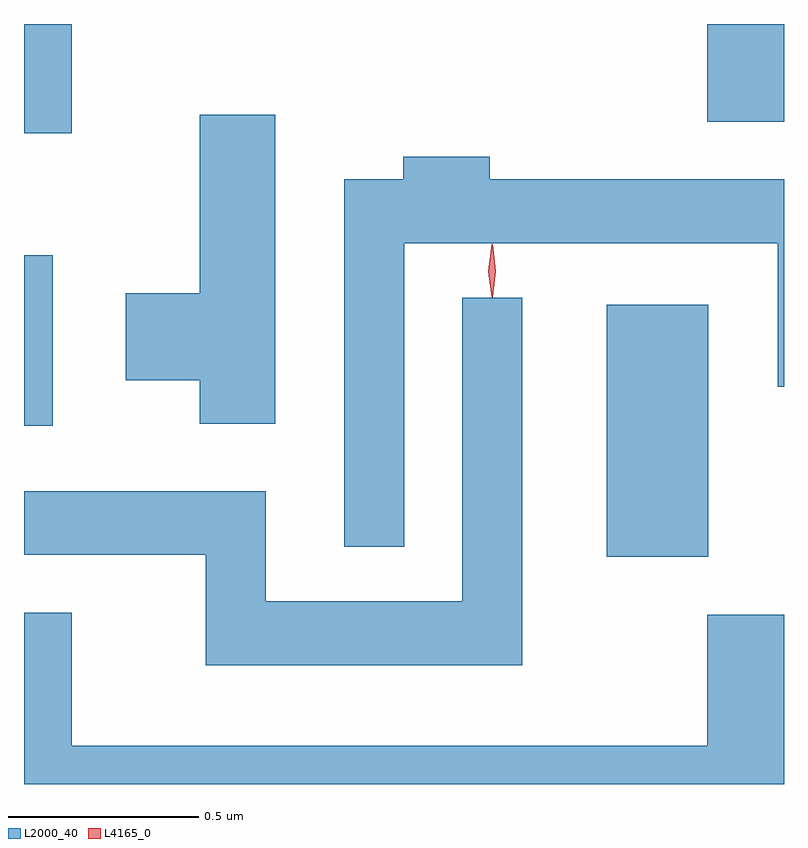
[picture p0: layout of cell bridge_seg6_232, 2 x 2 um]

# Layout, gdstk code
import gdstk
lib = gdstk.Library(unit=1e-6, precision=1e-09)
def R(c, l, rs):  # rectangles x0, y0, x1, y1
    for r in rs: c.add(gdstk.rectangle(r[:2], r[2:], *l))
def P(c, l, *ps):  # polygons
    for p in ps: c.add(gdstk.Polygon(p, *l))
L2000_40 = (2000, 40)
L4165_0 = (4165, 0)

bridge_seg6_232 = lib.new_cell('bridge_seg6_232')
R(bridge_seg6_232, L2000_40, [(1118.426,1550.801,1118.694,1551.464), (1116.893,1551.146,1116.969,1551.594), (1116.893,1551.916,1117.019,1552.203), (1118.691,1551.946,1118.893,1552.203)])
P(bridge_seg6_232, L2000_40, [(1117.554,1551.964),(1117.356,1551.964),(1117.356,1551.494),(1117.161,1551.494),(1117.161,1551.266),(1117.356,1551.266),(1117.356,1551.151),(1117.554,1551.151)],
  [(1117.894,1551.626),(1118.876,1551.626),(1118.876,1551.248),(1118.893,1551.248),(1118.893,1551.794),(1118.119,1551.794),(1118.119,1551.854),(1117.891,1551.854),(1117.891,1551.794),(1117.736,1551.794),(1117.736,1550.828),(1117.894,1550.828)],
  [(1118.204,1551.483),(1118.046,1551.483),(1118.046,1550.684),(1117.529,1550.684),(1117.529,1550.974),(1116.893,1550.974),(1116.893,1550.806),(1117.371,1550.806),(1117.371,1550.516),(1118.204,1550.516)],
  [(1118.893,1550.649),(1118.691,1550.649),(1118.691,1550.304),(1117.019,1550.304),(1117.019,1550.654),(1116.893,1550.654),(1116.893,1550.203),(1118.893,1550.203)])
P(bridge_seg6_232, L4165_0, [(1118.124,1551.484),(1118.115,1551.553),(1118.124,1551.623),(1118.125,1551.623),(1118.126,1551.623),(1118.135,1551.553),(1118.126,1551.484),(1118.125,1551.484)])

lib.write_gds('bridge_seg6_232.gds')
